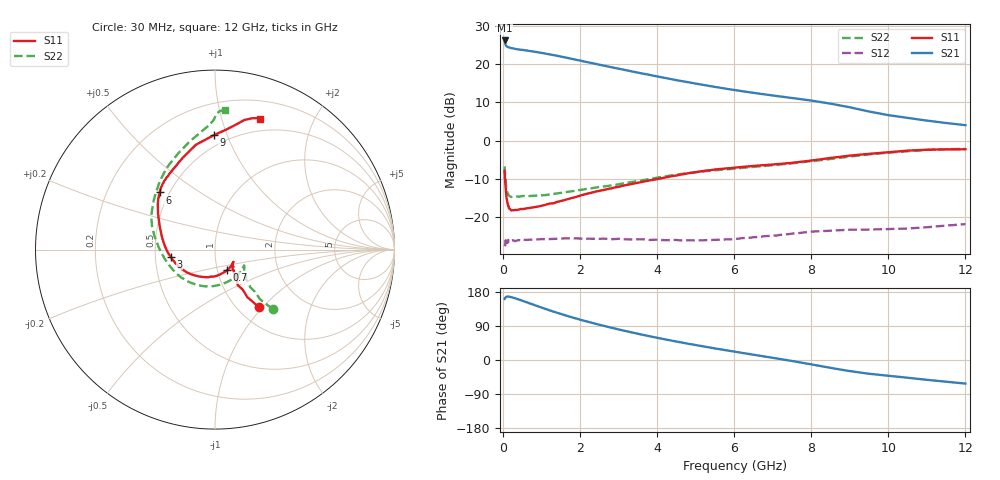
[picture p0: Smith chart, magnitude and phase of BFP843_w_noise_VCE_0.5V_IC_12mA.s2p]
! Infineon Technologies  Discrete & RF Semiconductors
! BFP843
! VCE =  0.5 V,  IC =  12 mA
! Common Emitter S-Parameters:  Aug 2013
# GHz  S  MA  R  50
!  f  S11  S21  S12  S22
! GHz  MAG  ANG  MAG  ANG  MAG  ANG  MAG  ANG
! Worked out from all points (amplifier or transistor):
!   103 points, 30 MHz to 12 GHz, reference 50 ohm
!   highest |S21| = 26.1 dB at 30 MHz (marker M1)
!   |S21| within 3 dB of that: start of sweep to 847.1 MHz
!   unconditionally stable (mu >= 1): 145.8 MHz to 11.82 GHz
!   at 400 MHz: K = 1.01, MAG = 24.2 dB, |S12| = -25.9 dB
!   at 3.7 GHz: K = 1.25, MAG = 18.5 dB, |S12| = -25.8 dB
!   at 12 GHz: K = 0.98, MSG = 12.9 dB, |S12| = -21.8 dB
!   lowest NFmin = 0.94 dB at 450 MHz
!   S11 on the Smith chart (normalised r, x): 30 MHz: 1.25, -0.96; 700 MHz: 1.11, -0.26; 3 GHz: 0.60, -0.05; 6 GHz: 0.44, +0.35; 9 GHz: 0.42, +0.90; 12 GHz: 0.37, +1.33
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0.03  0.4059 -52.5  20.21 161.3  0.042 30.1  0.4622 -45.9
0.04  0.3201 -55.8  18.84 162.5  0.0434 23.2  0.3733 -47.8
0.05  0.2699 -55.3  18.07 165.0  0.0433 20.3  0.3195 -46.5
0.07  0.2021 -53.8  17.13 166.4  0.0437 14.0  0.2545 -43.9
0.13  0.1406 -42.9  16.5 167.6  0.0508 8.6  0.1944 -33.7
0.7  0.1328 -59.1  14.68 148.8  0.0511 2.3  0.1896 -51.8
1  0.1417 -79.6  13.89 138.0  0.052 1.2  0.1936 -71.2
1.3  0.1524 -98.7  13.02 127.7  0.0522 0.2  0.2016 -89.4
1.7  0.1741 -120.7  11.86 115.0  0.0531 -1.3  0.2156 -110.5
2.1  0.1983 -139.0  10.74 103.4  0.0525 -2.8  0.2315 -129.1
2.5  0.2216 -154.0  9.736 92.8  0.0523 -3.5  0.2482 -144.8
3  0.2501 -170.9  8.635 80.5  0.0524 -4.8  0.2698 -161.5
3.5  0.2821 174.8  7.687 69.1  0.0516 -5.9  0.2972 -176.0
4.1  0.3229 160.3  6.699 56.5  0.0505 -5.1  0.3359 170.1
5  0.3882 145.1  5.529 39.3  0.05 -4.9  0.3868 155.9
6  0.4434 134.1  4.563 22.2  0.0523 -2.3  0.4304 143.2
6.1  0.4485 133.1  4.489 20.4  0.0525 -2.2  0.435 141.9
7.3  0.5026 118.2  3.7 0.7  0.0596 -1.9  0.4945 127.6
8.5  0.5937 100.3  3.03 -20.8  0.0668 -7.7  0.5752 110.7
9  0.6369 90.7  2.715 -29.4  0.0689 -10.9  0.6191 103.1
10.5  0.74 77.3  1.976 -46.8  0.0714 -15.1  0.7258 90.4
12  0.7703 71.1  1.589 -62.2  0.0813 -20.2  0.7814 85.8
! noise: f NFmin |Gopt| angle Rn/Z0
0.45  0.94  0.04  5  0.02
0.9  0.95  0.04  16  0.05
1.5  0.97  0.04  24  0.11
1.9  0.99  0.04  34  0.18
2.4  1.02  0.03  44  0.24
3.5  1.07  0.01  58  0.27
5.5  1.19  0.18  -121  0.33
10  1.8  0.5  -65  0.45
